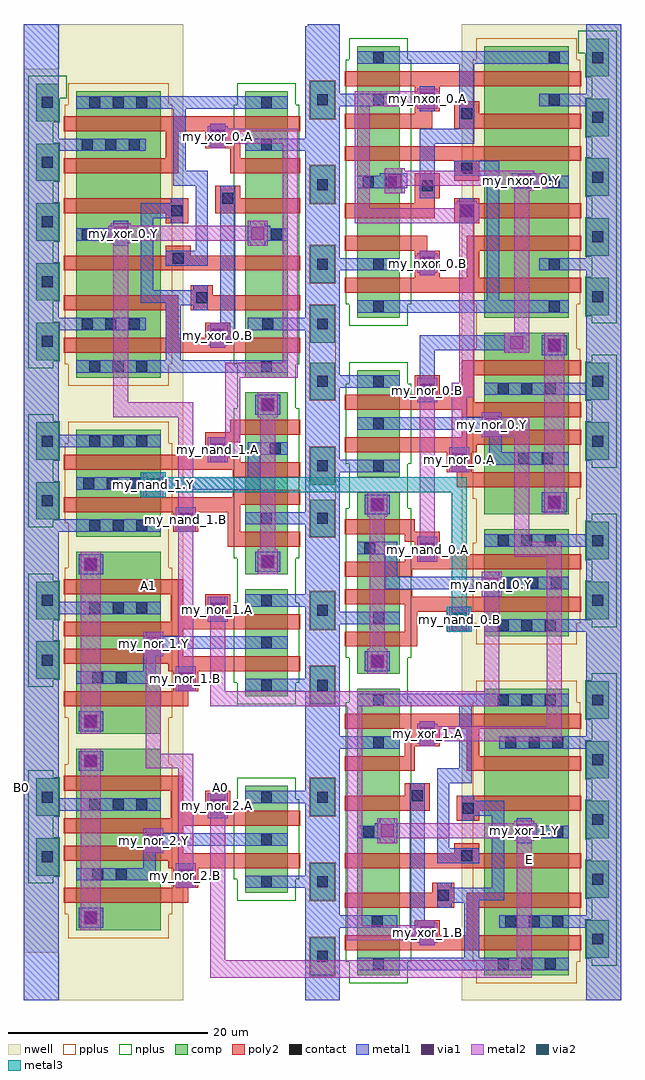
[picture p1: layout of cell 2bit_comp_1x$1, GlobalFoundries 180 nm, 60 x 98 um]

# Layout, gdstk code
import gdstk
lib = gdstk.Library(unit=1e-6, precision=5e-09)
def R(c, l, rs):  # rectangles x0, y0, x1, y1
    for r in rs: c.add(gdstk.rectangle(r[:2], r[2:], *l))
def A(c, l, x, y, w, h, nx, ny, dx, dy):  # array of equal rectangles
    R(c, l, [(x+i*dx, y+j*dy, x+i*dx+w, y+j*dy+h) for i in range(nx) for j in range(ny)])
nwell = (21, 0)
comp = (22, 0)
poly2 = (30, 0)
pplus = (31, 0)
nplus = (32, 0)
contact = (33, 0)
metal1 = (34, 0)
via1 = (35, 0)
metal2 = (36, 0)
via2 = (38, 0)
metal3 = (42, 0)

c_2bit_comp_1x_1 = lib.new_cell('2bit_comp_1x$1')
R(c_2bit_comp_1x_1, nwell, [(14.995,-29.85,27.495,68.15), (55.495,-29.85,71.495,68.15), (11.495,-25.1,14.995,63.65)])
A(c_2bit_comp_1x_1, comp, 67.995, -25.6, 2.25, 3.75, 1, 5, 0, 6)
A(c_2bit_comp_1x_1, comp, 12.745, 34.4, 2.25, 3.75, 1, 5, 0, 6)
A(c_2bit_comp_1x_1, comp, 67.995, 38.9, 2.25, 3.75, 1, 5, 0, 6)
R(c_2bit_comp_1x_1, comp, [(40.245,-27.35,42.745,-23.6), (44.995,-27.35,49.245,1.4), (57.745,-27.35,66.245,1.4), (16.745,-22.85,25.245,-4.6), (40.245,-19.85,42.745,-16.1), (33.745,-19.1,37.995,-8.35), (12.745,-17.35,14.995,-13.6), (12.745,-11.35,14.995,-7.6), (40.245,-11.35,42.745,-7.6), (16.745,-3.1,25.245,15.15), (40.245,-0.1,42.745,3.65), (33.745,0.65,37.995,11.4), (12.745,2.4,14.995,6.15), (44.995,2.9,49.245,21.15), (57.745,6.65,66.245,17.4), (40.245,7.4,42.745,11.15), (12.745,8.4,14.995,12.15), (67.995,8.4,70.245,12.15), (33.745,12.9,37.995,31.15), (67.995,14.4,70.245,18.15), (16.745,16.65,25.245,27.4), (40.245,16.65,42.745,20.4), (12.745,18.4,14.995,22.15), (57.745,18.9,66.245,37.15), (40.245,21.9,42.745,25.65), (44.995,22.65,49.245,33.4), (12.745,24.4,14.995,28.15), (67.995,24.4,70.245,28.15), (40.245,30.4,42.745,34.15), (67.995,30.4,70.245,34.15), (16.745,32.65,25.245,61.4), (33.745,32.65,37.995,61.4), (40.245,36.15,42.745,39.9), (44.995,38.65,49.245,65.9), (57.745,38.65,66.245,65.9), (40.245,42.15,42.745,45.9), (40.245,50.15,42.745,53.9), (49.245,51.15,49.495,53.65), (40.245,58.65,42.745,62.4)])
R(c_2bit_comp_1x_1, poly2, [(43.745,-24.85,50.745,-23.35), (50.745,-24.85,53.245,-21.85), (53.245,-24.85,55.995,-23.35), (55.995,-24.85,57.245,-19.1), (57.245,-24.85,67.495,-23.35), (43.745,-20.6,52.495,-19.1), (52.495,-20.6,54.745,-18.1), (57.245,-20.6,67.495,-19.1), (15.495,-20.1,26.495,-18.6), (26.495,-20.1,27.495,-14.35), (27.495,-20.1,27.995,-15.1), (27.995,-18.6,28.995,-15.1), (25.995,-16.6,26.495,-14.35), (28.995,-16.6,39.245,-15.1), (43.745,-16.6,54.745,-15.1), (54.745,-16.6,57.245,-14.1), (57.245,-16.6,67.495,-15.1), (15.495,-15.85,25.995,-14.35), (15.495,-13.1,26.245,-11.6), (26.245,-13.1,27.495,-7.35), (27.495,-12.35,29.745,-10.85), (29.745,-12.35,32.245,-8.85), (32.245,-12.35,39.245,-10.85), (54.995,-11.85,57.245,-9.35), (43.745,-10.85,49.745,-9.35), (49.745,-10.85,52.245,-8.1), (57.245,-10.85,67.495,-9.35), (15.495,-8.85,26.245,-7.35), (43.745,-6.85,49.745,-5.35), (49.745,-6.85,50.745,-1.1), (55.995,-6.85,57.245,-1.1), (57.245,-6.85,67.495,-5.35), (50.745,-4.35,53.245,-1.1), (43.745,-2.6,49.745,-1.1), (53.245,-2.6,55.995,-1.1), (57.245,-2.6,67.495,-1.1), (15.495,-0.35,26.495,1.15), (26.495,-0.35,27.495,5.4), (27.495,-0.35,27.995,4.65), (27.995,1.15,28.995,4.65), (25.995,3.15,26.495,5.4), (28.995,3.15,39.245,4.65), (15.495,3.9,25.995,5.4), (43.745,5.65,49.745,7.15), (49.745,5.65,50.495,11.4), (50.495,5.65,50.995,10.65), (15.495,6.65,26.245,8.15), (26.245,6.65,27.495,12.4), (53.995,7.15,56.495,10.65), (27.495,7.4,29.745,8.9), (29.745,7.4,32.245,10.9), (32.245,7.4,39.245,8.9), (50.995,9.15,53.995,10.65), (56.495,9.15,67.495,10.65), (43.745,9.9,49.745,11.4), (15.495,10.9,26.245,12.4), (43.745,12.65,49.745,14.15), (49.745,12.65,50.495,14.9), (50.495,13.4,50.745,14.9), (50.745,13.4,53.245,17.15), (53.245,13.4,67.495,14.9), (31.995,15.65,32.495,20.65), (32.495,15.65,33.245,21.4), (33.245,15.65,39.245,17.15), (49.745,16.15,50.745,18.4), (43.745,16.9,49.745,18.4), (26.495,17.15,28.995,20.65), (15.495,19.15,26.495,20.65), (28.995,19.15,31.995,20.65), (33.245,19.9,39.245,21.4), (54.995,21.65,55.495,26.65), (55.495,21.65,56.495,27.4), (56.495,21.65,67.495,23.15), (32.495,22.65,33.245,24.9), (33.245,22.65,39.245,24.15), (53.995,23.15,54.995,26.65), (15.495,23.4,29.745,24.9), (29.745,23.4,32.245,27.15), (32.245,23.4,32.495,24.9), (43.745,25.15,53.995,26.65), (56.495,25.15,56.995,27.4), (56.995,25.9,67.495,27.4), (32.245,26.15,33.245,28.4), (33.245,26.9,39.245,28.4), (55.495,28.65,56.745,34.4), (56.745,28.65,67.495,30.15), (43.745,29.4,50.745,30.9), (50.745,29.4,53.245,32.9), (53.245,29.4,55.495,30.9), (56.745,32.9,67.495,34.4), (15.495,35.15,25.745,36.65), (25.745,35.15,26.995,40.9), (26.995,35.15,29.745,36.65), (29.745,35.15,32.245,38.15), (32.245,35.15,39.245,36.65), (15.495,39.4,25.745,40.9), (28.245,39.4,30.495,41.9), (30.495,39.4,39.245,40.9), (43.745,41.15,50.745,42.65), (50.745,41.15,51.995,46.9), (51.995,41.15,53.245,45.4), (53.245,41.15,55.995,42.65), (55.995,41.15,57.245,46.9), (57.245,41.15,67.495,42.65), (15.495,43.4,25.745,44.9), (25.745,43.4,28.245,45.9), (28.245,43.4,39.245,44.9), (43.745,45.4,50.745,46.9), (57.245,45.4,67.495,46.9), (25.745,48.15,27.995,50.65), (54.745,48.15,57.245,50.65), (43.745,48.65,50.745,50.15), (50.745,48.65,52.745,53.15), (57.245,48.65,67.495,50.15), (15.495,49.15,25.745,50.65), (30.745,49.15,33.245,51.9), (33.245,49.15,39.245,50.65), (52.745,50.65,53.245,53.15), (54.745,52.4,57.245,55.9), (15.495,53.15,25.745,54.65), (25.745,53.15,26.995,58.9), (32.245,53.15,33.245,58.9), (33.245,53.15,39.245,54.65), (43.745,54.4,54.745,55.9), (57.245,54.4,67.495,55.9), (29.745,55.65,32.245,58.9), (15.495,57.4,25.745,58.9), (26.995,57.4,29.745,58.9), (33.245,57.4,39.245,58.9), (43.745,57.65,50.745,59.15), (50.745,57.65,52.495,63.4), (54.745,57.65,57.245,60.4), (57.245,57.65,67.495,59.15), (52.495,59.4,53.245,63.4), (43.745,61.9,50.745,63.4), (53.245,61.9,67.495,63.4)])
R(c_2bit_comp_1x_1, pplus, [(56.945,-28.15,67.045,2.2), (40.145,-27.45,42.845,-23.5), (56.595,-26,56.945,0.05), (67.045,-26,67.395,0.05), (15.945,-23.65,26.045,28.2), (15.595,-21.25,15.945,-6.2), (26.045,-21.25,26.395,-6.2), (40.145,-19.95,42.845,-16), (40.145,-11.45,42.845,-7.5), (15.595,-1.5,15.945,13.55), (26.045,-1.5,26.395,13.55), (40.145,-0.2,42.845,3.75), (56.945,5.85,67.045,66.7), (40.145,7.3,42.845,11.25), (56.595,8,56.945,16.05), (67.045,8,67.395,16.05), (40.145,16.55,42.845,25.75), (15.595,18,15.945,26.05), (26.045,18,26.395,26.05), (56.595,20.5,56.945,35.55), (67.045,20.5,67.395,35.55), (40.145,30.3,42.845,40), (15.945,31.85,26.045,62.2), (15.595,34,15.945,60.05), (26.045,34,26.395,60.05), (56.595,40,56.945,64.55), (67.045,40,67.395,64.55), (40.145,42.05,42.845,46), (40.145,50.05,42.845,54), (40.145,58.55,42.845,62.5)])
A(c_2bit_comp_1x_1, nplus, 67.895, -25.7, 0.65, 3.95, 1, 5, 0, 6)
A(c_2bit_comp_1x_1, nplus, 14.445, 34.3, 0.65, 3.95, 1, 4, 0, 6)
A(c_2bit_comp_1x_1, nplus, 67.895, 38.8, 0.65, 3.95, 1, 4, 0, 6)
R(c_2bit_comp_1x_1, nplus, [(44.195,-28.15,50.045,34.2), (68.545,-26.4,71.045,2.95), (43.845,-26,44.195,0.05), (50.045,-26,50.395,0.05), (32.945,-19.9,38.795,-7.55), (11.945,-18.15,14.445,-6.8), (32.595,-17.75,32.945,-9.7), (38.795,-17.75,39.145,-9.7), (14.445,-17.45,15.095,-13.5), (14.445,-11.45,15.095,-7.5), (32.945,-0.15,38.795,62.2), (11.945,1.6,14.445,12.95), (32.595,2,32.945,10.05), (38.795,2,39.145,10.05), (14.445,2.3,15.095,6.25), (43.845,4.5,44.195,19.55), (50.045,4.5,50.395,19.55), (68.545,7.6,71.045,18.95), (14.445,8.3,15.095,12.25), (67.895,8.3,68.545,12.25), (67.895,14.3,68.545,18.25), (32.595,14.5,32.945,29.55), (38.795,14.5,39.145,29.55), (11.945,17.6,14.445,28.95), (14.445,18.3,15.095,22.25), (68.545,23.6,71.045,34.95), (43.845,24,44.195,32.05), (50.045,24,50.395,32.05), (14.445,24.3,15.095,28.25), (67.895,24.3,68.545,28.25), (67.895,30.3,68.545,34.25), (11.945,33.6,14.445,62.95), (32.595,34,32.945,60.05), (38.795,34,39.145,60.05), (44.195,37.85,50.045,66.7), (68.545,38.1,71.045,67.45), (43.845,40,44.195,64.55), (50.045,40,50.395,64.55), (14.445,58.3,15.095,62.95), (15.095,60.7,15.795,62.95), (67.895,62.8,68.545,67.45), (67.195,65.2,67.895,67.45)])
A(c_2bit_comp_1x_1, contact, 59.095, -26.775, 1.1, 1.1, 3, 2, 2.35, 26.5)
A(c_2bit_comp_1x_1, contact, 68.57, -24.275, 1.1, 1.1, 1, 5, 0, 6)
A(c_2bit_comp_1x_1, contact, 59.845, -22.525, 1.1, 1.1, 3, 2, 2.35, 18)
A(c_2bit_comp_1x_1, contact, 35.32, -18.525, 1.1, 1.1, 1, 3, 0, 4.25)
A(c_2bit_comp_1x_1, contact, 18.095, -10.775, 1.1, 1.1, 3, 2, 2.35, 19.75)
A(c_2bit_comp_1x_1, contact, 35.32, 1.225, 1.1, 1.1, 1, 3, 0, 4.25)
A(c_2bit_comp_1x_1, contact, 59.095, 7.225, 1.1, 1.1, 3, 2, 2.35, 8.5)
A(c_2bit_comp_1x_1, contact, 59.72, 11.475, 1.1, 1.1, 3, 1, 2.35, 0)
A(c_2bit_comp_1x_1, contact, 18.095, 17.225, 1.1, 1.1, 3, 2, 2.35, 8.5)
A(c_2bit_comp_1x_1, contact, 17.47, 21.475, 1.1, 1.1, 3, 1, 2.35, 0)
A(c_2bit_comp_1x_1, contact, 46.57, 23.225, 1.1, 1.1, 1, 3, 0, 4.25)
A(c_2bit_comp_1x_1, contact, 59.095, 30.975, 1.1, 1.1, 3, 1, 2.35, 0)
A(c_2bit_comp_1x_1, contact, 18.095, 33.225, 1.1, 1.1, 3, 2, 2.35, 26.5)
A(c_2bit_comp_1x_1, contact, 13.32, 35.725, 1.1, 1.1, 1, 5, 0, 6)
A(c_2bit_comp_1x_1, contact, 17.345, 37.475, 1.1, 1.1, 3, 2, 2.35, 18)
A(c_2bit_comp_1x_1, contact, 68.57, 40.225, 1.1, 1.1, 1, 5, 0, 6)
A(c_2bit_comp_1x_1, contact, 64.195, 43.475, 1.1, 1.1, 1, 3, 0, 8.25)
R(c_2bit_comp_1x_1, contact, [(46.57,-26.775,47.67,-25.675), (40.945,-26.025,42.045,-24.925), (51.445,-23.65,52.545,-22.55), (46.445,-22.525,47.545,-21.425), (17.695,-22.15,18.795,-21.05), (53.07,-19.9,54.17,-18.8), (40.945,-18.525,42.045,-17.425), (27.195,-17.9,28.295,-16.8), (18.395,-17.775,19.495,-16.675), (20.745,-17.775,21.845,-16.675), (13.32,-16.025,14.42,-14.925), (55.445,-15.9,56.545,-14.8), (45.57,-13.525,46.67,-12.425), (64.57,-13.525,65.67,-12.425), (55.57,-11.15,56.67,-10.05), (30.445,-10.9,31.545,-9.8), (13.32,-10.025,14.42,-8.925), (40.945,-10.025,42.045,-8.925), (50.445,-9.9,51.545,-8.8), (17.695,-6.4,18.795,-5.3), (46.57,-4.525,47.67,-3.425), (51.445,-3.65,52.545,-2.55), (17.695,-2.4,18.795,-1.3), (46.57,-0.275,47.67,0.825), (40.945,1.225,42.045,2.325), (27.195,1.85,28.295,2.95), (18.395,1.975,19.495,3.075), (20.745,1.975,21.845,3.075), (46.445,3.6,47.545,4.7), (13.32,3.725,14.42,4.825), (54.695,7.85,55.795,8.95), (46.57,7.975,47.67,9.075), (40.945,8.725,42.045,9.825), (30.445,8.85,31.545,9.95), (13.32,9.725,14.42,10.825), (68.57,9.725,69.67,10.825), (17.695,13.35,18.795,14.45), (35.445,13.6,36.545,14.7), (51.445,14.85,52.545,15.95), (45.695,14.975,46.795,16.075), (68.57,15.725,69.67,16.825), (27.195,17.85,28.295,18.95), (35.32,17.975,36.42,19.075), (40.945,17.975,42.045,19.075), (46.445,19.35,47.545,20.45), (64.195,19.6,65.295,20.7), (13.32,19.725,14.42,20.825), (40.945,23.225,42.045,24.325), (54.695,23.85,55.795,24.95), (61.145,23.975,62.245,25.075), (63.495,23.975,64.595,25.075), (30.445,24.85,31.545,25.95), (36.195,24.975,37.295,26.075), (13.32,25.725,14.42,26.825), (68.57,25.725,69.67,26.825), (35.445,29.35,36.545,30.45), (51.445,30.85,52.545,31.95), (40.945,31.725,42.045,32.825), (68.57,31.725,69.67,32.825), (35.32,33.225,36.42,34.325), (64.195,35.35,65.295,36.45), (30.445,36.35,31.545,37.45), (35.445,37.475,36.545,38.575), (40.945,37.475,42.045,38.575), (46.57,39.225,47.67,40.325), (64.195,39.225,65.295,40.325), (28.82,40.1,29.92,41.2), (40.945,43.475,42.045,44.575), (46.57,43.475,47.67,44.575), (51.445,43.6,52.545,44.7), (26.445,44.1,27.545,45.2), (17.32,46.475,18.42,47.575), (36.32,46.475,37.42,47.575), (26.32,48.85,27.42,49.95), (55.445,48.85,56.545,49.95), (31.445,50.1,32.545,51.2), (51.445,51.35,52.545,52.45), (40.945,51.475,42.045,52.575), (45.52,51.725,46.62,52.825), (47.87,51.725,48.97,52.825), (55.445,53.1,56.545,54.2), (35.32,55.475,36.42,56.575), (30.445,56.35,31.545,57.45), (55.445,58.6,56.545,59.7), (35.32,59.725,36.42,60.825), (40.945,59.975,42.045,61.075), (46.57,59.975,47.67,61.075), (51.445,60.1,52.545,61.2), (46.57,64.225,47.67,65.325), (64.195,64.225,65.295,65.325)])
R(c_2bit_comp_1x_1, metal1, [(11.495,-29.85,14.995,68.15), (39.745,-29.85,39.995,67.9), (39.995,-29.85,43.245,68.15), (67.995,-29.85,71.495,68.15), (44.995,-26.85,55.745,-25.6), (55.745,-26.85,57.245,-18.6), (57.245,-26.85,66.245,-25.6), (51.245,-24.35,51.745,-8.1), (51.745,-24.35,52.745,-21.85), (50.245,-23.6,51.245,-8.1), (16.995,-22.6,19.495,-20.6), (43.245,-22.6,48.995,-21.35), (59.245,-22.6,67.995,-21.35), (52.995,-20.6,54.495,-18.1), (54.495,-20.1,55.745,-18.6), (57.245,-19.85,58.495,-18.6), (58.495,-19.85,59.745,-9.85), (26.995,-18.6,28.495,-16.1), (33.745,-18.6,39.745,-17.35), (16.745,-17.85,23.495,-16.6), (23.495,-17.85,23.745,-13.1), (23.745,-17.85,24.745,-12.6), (52.995,-16.1,54.245,-6.6), (54.245,-16.1,57.245,-14.6), (24.745,-15.1,25.245,-12.6), (25.245,-14.35,37.995,-13.1), (47.245,-14.1,48.745,-11.6), (60.995,-14.1,62.495,-11.6), (44.995,-13.6,46.745,-12.35), (46.745,-13.6,47.245,-12.1), (48.745,-13.6,48.995,-12.1), (62.495,-13.6,62.995,-12.1), (62.995,-13.6,66.245,-12.35), (55.495,-11.85,56.745,-9.35), (30.245,-11.6,31.745,-9.1), (56.745,-11.35,58.495,-9.85), (14.995,-10.85,25.245,-9.6), (33.745,-10.1,39.745,-8.85), (54.245,-8.1,55.245,-6.6), (55.245,-8.1,56.495,0.9), (16.995,-6.85,19.495,-4.85), (43.245,-4.6,49.245,-3.35), (59.245,-4.6,67.995,-3.35), (51.245,-4.35,52.745,-1.85), (16.995,-2.85,19.495,-0.85), (44.995,-0.35,55.245,0.9), (56.495,-0.35,66.245,0.9), (26.995,1.15,28.495,3.65), (33.745,1.15,39.745,2.4), (16.745,1.9,23.495,3.15), (23.495,1.9,23.745,6.65), (23.745,1.9,24.745,7.15), (45.745,3.15,48.245,5.15), (24.745,4.65,25.245,7.15), (25.245,5.4,37.995,6.65), (54.495,7.15,55.995,9.65), (57.745,7.15,67.995,8.4), (43.245,7.9,49.245,9.15), (30.245,8.15,31.745,10.65), (14.995,8.9,25.245,10.15), (33.745,9.65,39.745,10.9), (57.745,10.65,59.245,13.15), (47.745,11.4,48.995,16.15), (48.995,11.4,57.745,12.65), (59.245,11.4,66.245,12.65), (16.995,12.9,19.495,14.9), (34.745,13.15,37.245,15.15), (51.245,14.15,52.745,16.65), (44.995,14.9,47.745,16.15), (57.745,15.65,67.995,16.9), (14.995,17.15,25.245,18.4), (26.995,17.15,28.495,19.65), (33.745,17.9,39.745,19.15), (45.745,18.9,48.245,20.9), (63.495,19.15,65.995,21.15), (23.745,20.65,25.245,23.15), (16.745,21.4,23.745,22.65), (25.245,21.4,33.995,22.65), (33.995,21.4,35.245,26.15), (43.245,23.15,49.245,24.4), (54.495,23.15,55.995,25.65), (58.245,23.9,59.245,29.15), (59.245,23.9,59.495,28.65), (59.495,23.9,66.245,25.15), (30.245,24.15,31.745,26.65), (35.245,24.9,37.995,26.15), (14.995,25.65,25.245,26.9), (57.745,26.65,58.245,29.15), (44.995,27.4,57.745,28.65), (34.745,28.9,37.245,30.9), (51.245,30.15,52.745,36.9), (57.745,30.9,67.995,32.15), (43.245,31.65,49.245,32.9), (16.745,33.15,25.745,34.4), (25.745,33.15,27.245,41.4), (27.245,33.15,37.995,34.4), (63.495,34.9,65.995,36.9), (59.745,35.15,62.245,37.15), (52.745,35.4,59.745,36.9), (30.245,35.65,31.245,38.15), (31.245,35.65,31.745,51.9), (31.745,36.4,32.745,51.9), (14.995,37.4,23.745,38.65), (33.995,37.4,39.745,38.65), (44.995,39.15,57.995,40.4), (57.995,39.15,59.245,54.4), (59.245,39.15,66.245,40.4), (28.495,39.4,29.995,41.9), (27.245,39.9,28.495,41.4), (23.245,40.15,24.495,50.15), (24.495,40.15,25.745,41.4), (51.245,42.9,52.745,45.4), (43.245,43.4,49.245,44.65), (63.245,43.4,67.995,44.65), (25.745,43.9,28.745,45.4), (28.745,43.9,29.995,53.4), (20.495,45.9,21.995,48.4), (34.245,45.9,35.745,48.4), (16.745,46.4,19.995,47.65), (19.995,46.4,20.495,47.9), (33.995,46.4,34.245,47.9), (35.745,46.4,36.245,47.9), (36.245,46.4,37.995,47.65), (26.245,48.15,27.495,50.65), (55.245,48.15,56.745,50.65), (24.495,48.65,26.245,50.15), (51.245,50.65,52.745,57.65), (44.995,51.65,47.245,52.9), (47.245,51.65,49.995,53.15), (60.495,51.65,63.995,53.15), (63.995,51.65,66.245,52.9), (26.495,51.9,27.745,60.9), (27.745,51.9,28.745,53.4), (54.745,52.9,57.995,54.4), (14.995,55.4,23.745,56.65), (33.745,55.4,39.745,56.65), (30.245,55.65,31.745,58.15), (52.745,56.15,55.245,57.65), (55.245,56.15,56.745,65.4), (51.245,59.4,52.745,61.9), (16.745,59.65,26.495,60.9), (27.745,59.65,37.995,60.9), (43.245,59.9,49.245,61.15), (63.245,59.9,67.995,61.15), (44.995,64.15,55.245,65.4), (56.745,64.15,66.245,65.4)])
R(c_2bit_comp_1x_1, via1, [(51.345,-23.75,52.645,-22.45), (17.595,-22.25,18.895,-20.95), (27.095,-18,28.395,-16.7), (23.845,-14.5,25.145,-13.2), (47.345,-13.5,48.645,-12.2), (61.095,-13.5,62.395,-12.2), (30.345,-11,31.645,-9.7), (17.595,-6.5,18.895,-5.2), (51.345,-3.75,52.645,-2.45), (17.595,-2.5,18.895,-1.2), (27.095,1.75,28.395,3.05), (46.345,3.5,47.645,4.8), (23.845,5.25,25.145,6.55), (54.595,7.75,55.895,9.05), (30.345,8.75,31.645,10.05), (57.845,11.25,59.145,12.55), (17.595,13.25,18.895,14.55), (35.345,13.5,36.645,14.8), (51.345,14.75,52.645,16.05), (27.095,17.75,28.395,19.05), (46.345,19.25,47.645,20.55), (64.095,19.5,65.395,20.8), (23.845,21.25,25.145,22.55), (54.595,23.75,55.895,25.05), (30.345,24.75,31.645,26.05), (57.845,27.25,59.145,28.55), (35.345,29.25,36.645,30.55), (51.345,30.75,52.645,32.05), (64.095,35.25,65.395,36.55), (60.345,35.5,61.645,36.8), (30.345,36.25,31.645,37.55), (51.345,43.5,52.645,44.8), (20.595,46.5,21.895,47.8), (34.345,46.5,35.645,47.8), (55.345,48.75,56.645,50.05), (48.095,51.75,49.395,53.05), (61.095,51.75,62.395,53.05), (30.345,56.25,31.645,57.55), (51.345,60,52.645,61.3)])
R(c_2bit_comp_1x_1, metal2, [(30.245,-27.6,31.745,-9.1), (31.745,-27.6,60.995,-25.85), (60.995,-27.6,62.495,-11.85), (51.245,-24.35,52.745,-21.85), (50.995,-24.1,51.245,-22.1), (52.745,-24.1,52.995,-22.1), (43.995,-23.85,45.495,1.15), (45.495,-23.85,50.995,-22.35), (17.245,-22.85,19.245,-4.6), (26.745,-18.6,26.995,-16.1), (26.995,-18.6,28.495,-5.1), (28.495,-18.6,28.745,-16.1), (23.495,-15.1,25.495,-12.6), (46.995,-14.1,48.995,-11.6), (60.745,-13.85,60.995,-11.85), (62.495,-13.85,62.745,-11.85), (48.995,-13.6,60.745,-12.1), (62.745,-13.6,62.995,-12.1), (29.995,-11.6,30.245,-9.1), (31.745,-11.6,31.995,-9.1), (23.745,-6.6,25.245,7.15), (25.245,-6.6,26.995,-5.1), (51.245,-4.35,52.745,-1.85), (50.995,-4.1,51.245,-2.1), (52.745,-4.1,52.995,-2.1), (52.995,-3.85,63.995,-2.35), (63.995,-3.85,65.495,16.15), (17.245,-3.1,19.245,15.15), (30.245,-0.35,31.745,10.65), (31.745,-0.35,43.995,1.15), (45.495,-0.35,57.745,1.15), (57.745,-0.35,59.245,13.15), (26.745,1.15,26.995,3.65), (26.995,1.15,28.495,30.15), (28.495,1.15,28.745,3.65), (45.995,2.9,46.245,5.4), (46.245,2.9,47.745,21.15), (47.745,2.9,47.995,5.4), (23.495,4.65,23.745,7.15), (25.245,4.65,25.495,7.15), (54.245,7.15,56.245,9.65), (29.995,8.15,30.245,10.65), (31.745,8.15,31.995,10.65), (57.495,10.65,57.745,13.15), (59.245,10.65,59.495,13.15), (34.995,12.9,35.245,15.4), (35.245,12.9,36.745,31.15), (36.745,12.9,36.995,15.4), (50.995,14.15,51.245,16.65), (51.245,14.15,52.745,32.65), (52.745,14.15,52.995,16.65), (60.745,14.65,62.245,28.65), (62.245,14.65,63.995,16.15), (26.745,17.15,26.995,19.65), (28.495,17.15,28.745,19.65), (45.995,18.65,46.245,21.15), (47.745,18.65,47.995,21.15), (63.745,18.9,65.745,37.15), (23.495,20.65,25.495,23.15), (54.245,23.15,54.495,25.65), (54.495,23.15,55.245,32.15), (55.245,23.15,55.995,50.4), (55.995,23.15,56.245,25.65), (29.995,24.15,31.745,26.65), (31.745,24.15,31.995,34.15), (31.995,24.65,33.245,34.15), (57.495,26.65,59.495,29.15), (59.495,26.65,60.745,28.65), (20.495,28.65,21.995,48.15), (21.995,28.65,26.995,30.15), (34.995,28.65,35.245,31.15), (36.745,28.65,36.995,31.15), (50.995,30.15,51.245,32.65), (52.745,30.15,52.995,32.65), (55.995,30.65,56.745,50.4), (33.245,32.65,37.495,34.15), (37.495,32.65,38.995,57.65), (59.745,35.15,60.745,37.15), (60.745,35.15,62.245,53.4), (30.245,35.65,31.745,38.15), (29.995,35.9,30.245,37.9), (31.745,35.9,31.995,37.9), (51.245,42.9,52.745,45.4), (50.995,43.15,51.245,45.15), (52.745,43.15,52.995,45.15), (50.745,43.4,50.995,44.9), (52.995,43.4,53.245,44.9), (33.995,45.9,35.995,48.4), (20.245,46.15,20.495,48.15), (21.995,46.15,22.245,48.15), (19.995,46.4,20.245,47.9), (22.245,46.4,33.995,47.9), (44.745,48.15,46.245,61.4), (46.245,48.15,54.745,49.65), (54.745,48.15,54.995,50.15), (54.995,48.15,55.245,50.4), (56.745,48.15,56.995,50.4), (56.995,48.4,57.245,50.15), (47.745,51.15,49.745,53.65), (62.245,51.4,62.745,53.4), (60.495,51.65,60.745,53.4), (62.745,51.65,63.995,53.15), (49.745,51.9,60.495,53.4), (30.245,55.65,31.745,58.15), (29.995,55.9,30.245,57.9), (31.745,55.9,31.995,57.9), (31.995,56.15,37.495,57.65), (50.995,59.65,52.995,61.65), (46.245,59.9,50.995,61.4), (52.995,59.9,53.245,61.4)])
R(c_2bit_comp_1x_1, via2, [(54.595,7.75,55.895,9.05), (23.845,21.25,25.145,22.55)])
R(c_2bit_comp_1x_1, metal3, [(53.995,7.15,54.495,9.65), (54.495,7.15,55.995,22.65), (55.995,7.15,56.495,9.65), (23.245,20.65,25.745,23.15), (25.745,21.15,54.495,22.65)])
c_2bit_comp_1x_1.add(gdstk.Label('my_nor_0.A', (55.245,24.4), layer=36, texttype=0))
c_2bit_comp_1x_1.add(gdstk.Label('my_nor_0.B', (51.995,31.4), layer=36, texttype=0))
c_2bit_comp_1x_1.add(gdstk.Label('my_nand_1.Y', (24.495,21.9), layer=36, texttype=0))
c_2bit_comp_1x_1.add(gdstk.Label('my_nand_1.B', (27.745,18.4), layer=36, texttype=0))
c_2bit_comp_1x_1.add(gdstk.Label('my_nand_1.A', (30.995,25.4), layer=36, texttype=0))
c_2bit_comp_1x_1.add(gdstk.Label('my_xor_1.Y', (61.745,-12.85), layer=36, texttype=0))
c_2bit_comp_1x_1.add(gdstk.Label('my_xor_1.B', (51.995,-23.1), layer=36, texttype=0))
c_2bit_comp_1x_1.add(gdstk.Label('my_xor_1.A', (51.995,-3.1), layer=36, texttype=0))
c_2bit_comp_1x_1.add(gdstk.Label('my_nor_2.Y', (24.495,-13.85), layer=36, texttype=0))
c_2bit_comp_1x_1.add(gdstk.Label('my_nor_2.B', (27.745,-17.35), layer=36, texttype=0))
c_2bit_comp_1x_1.add(gdstk.Label('my_nor_2.A', (30.995,-10.35), layer=36, texttype=0))
c_2bit_comp_1x_1.add(gdstk.Label('my_nor_1.Y', (24.495,5.9), layer=36, texttype=0))
c_2bit_comp_1x_1.add(gdstk.Label('my_nor_1.B', (27.745,2.4), layer=36, texttype=0))
c_2bit_comp_1x_1.add(gdstk.Label('my_nor_1.A', (30.995,9.4), layer=36, texttype=0))
c_2bit_comp_1x_1.add(gdstk.Label('my_xor_0.A', (30.995,56.9), layer=36, texttype=0))
c_2bit_comp_1x_1.add(gdstk.Label('my_xor_0.B', (30.995,36.9), layer=36, texttype=0))
c_2bit_comp_1x_1.add(gdstk.Label('my_xor_0.Y', (21.495,47.15), layer=36, texttype=0))
c_2bit_comp_1x_1.add(gdstk.Label('my_nand_0.Y', (58.495,11.9), layer=36, texttype=0))
c_2bit_comp_1x_1.add(gdstk.Label('my_nand_0.A', (51.995,15.4), layer=36, texttype=0))
c_2bit_comp_1x_1.add(gdstk.Label('my_nor_0.Y', (58.495,27.9), layer=36, texttype=0))
c_2bit_comp_1x_1.add(gdstk.Label('my_nxor_0.B', (51.995,44.15), layer=36, texttype=0))
c_2bit_comp_1x_1.add(gdstk.Label('my_nxor_0.Y', (61.495,52.4), layer=36, texttype=0))
c_2bit_comp_1x_1.add(gdstk.Label('my_nxor_0.A', (51.995,60.65), layer=36, texttype=0))
c_2bit_comp_1x_1.add(gdstk.Label('VDD', (1,30.25), layer=34, texttype=10))
c_2bit_comp_1x_1.add(gdstk.Label('VDD', (0.75,-26.5), layer=34, texttype=10))
c_2bit_comp_1x_1.add(gdstk.Label('VSS', (1,1.75), layer=34, texttype=10))
c_2bit_comp_1x_1.add(gdstk.Label('B0', (11.25,-8.5), layer=34, texttype=10))
c_2bit_comp_1x_1.add(gdstk.Label('A0', (31.25,-8.5), layer=34, texttype=10))
c_2bit_comp_1x_1.add(gdstk.Label('B1', (7.5,11.75), layer=34, texttype=10))
c_2bit_comp_1x_1.add(gdstk.Label('A1', (24,11.75), layer=34, texttype=10))
c_2bit_comp_1x_1.add(gdstk.Label('L', (81,21.75), layer=34, texttype=10))
c_2bit_comp_1x_1.add(gdstk.Label('G', (82,-15.75), layer=34, texttype=10))
c_2bit_comp_1x_1.add(gdstk.Label('E', (62.25,-15.75), layer=34, texttype=10))
c_2bit_comp_1x_1.add(gdstk.Label('my_nand_0.B', (55.245,8.4), layer=42, texttype=0))

lib.write_gds('2bit_comp_1x_1.gds')
